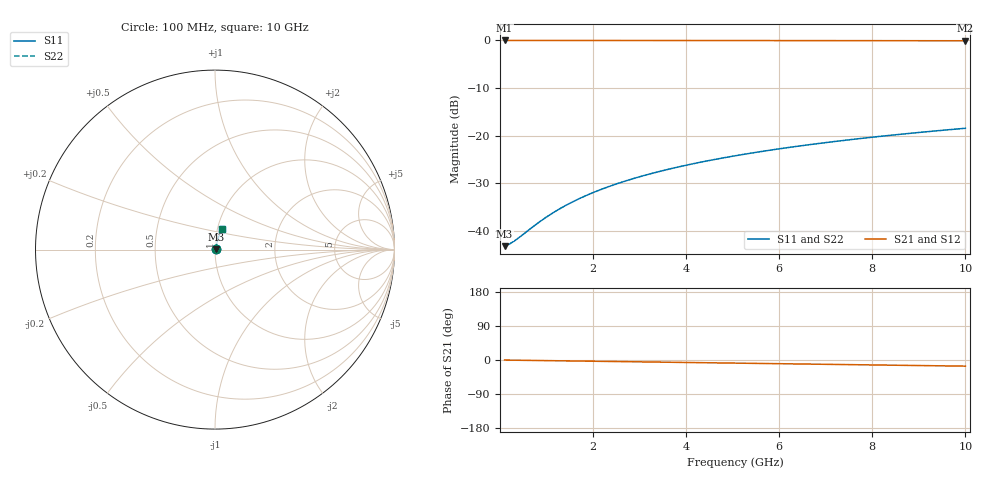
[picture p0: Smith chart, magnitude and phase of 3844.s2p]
# Hz S RI R 50.00
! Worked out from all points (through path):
!   100 points, 100 MHz to 10 GHz, reference 50 ohm
!   highest |S21| = -0.06 dB at 100 MHz (marker M1); lowest = -0.1 dB at 10 GHz (marker M2)
!   group delay of S21, straight-line fit = 4.51 ps
!   lowest |S11| = -43.2 dB at 100 MHz (marker M3), VSWR 1.01, Z = 50.7 + j0.121 ohm
!   |S11| at or under -10 dB: start of sweep to end of sweep
!   |S22| runs from -43.2 to -18.5 dB; largest |S21 - S12| = 0
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1e8  0.00684 0.00119  0.9932 -0.00282  0.9932 -0.00282  0.00684 0.00119
2e8  0.0069 0.00239  0.9931 -0.00565  0.9931 -0.00565  0.0069 0.00239
3e8  0.00695 0.00358  0.993 -0.00847  0.993 -0.00847  0.00695 0.00358
4e8  0.007 0.00478  0.993 -0.0113  0.993 -0.0113  0.007 0.00478
8e8  0.00724 0.00955  0.9927 -0.0226  0.9927 -0.0226  0.00724 0.00955
1.1e9  0.00747 0.0131  0.9923 -0.031  0.9923 -0.031  0.00747 0.0131
1.4e9  0.00776 0.0167  0.992 -0.0395  0.992 -0.0395  0.00776 0.0167
1.6e9  0.00799 0.0191  0.9916 -0.0451  0.9916 -0.0451  0.00799 0.0191
1.8e9  0.00824 0.0214  0.9913 -0.0508  0.9913 -0.0508  0.00824 0.0214
2.1e9  0.00866 0.025  0.9907 -0.0592  0.9907 -0.0592  0.00866 0.025
2.5e9  0.00932 0.0297  0.9898 -0.0705  0.9898 -0.0705  0.00932 0.0297
2.9e9  0.0101 0.0344  0.9888 -0.0817  0.9888 -0.0817  0.0101 0.0344
3.4e9  0.0112 0.0403  0.9872 -0.0957  0.9872 -0.0957  0.0112 0.0403
3.8e9  0.0122 0.0449  0.9858 -0.1069  0.9858 -0.1069  0.0122 0.0449
4.2e9  0.0133 0.0496  0.9843 -0.118  0.9843 -0.118  0.0133 0.0496
4.6e9  0.0145 0.0542  0.9826 -0.1292  0.9826 -0.1292  0.0145 0.0542
5.1e9  0.0161 0.0599  0.9803 -0.143  0.9803 -0.143  0.0161 0.0599
5.9e9  0.0191 0.0689  0.9762 -0.1651  0.9762 -0.1651  0.0191 0.0689
6.7e9  0.0225 0.0778  0.9714 -0.187  0.9714 -0.187  0.0225 0.0778
7.5e9  0.0262 0.0865  0.9661 -0.2087  0.9661 -0.2087  0.0262 0.0865
8.4e9  0.0309 0.096  0.9595 -0.233  0.9595 -0.233  0.0309 0.096
1e10  0.0404 0.1123  0.946 -0.2753  0.946 -0.2753  0.0404 0.1123
